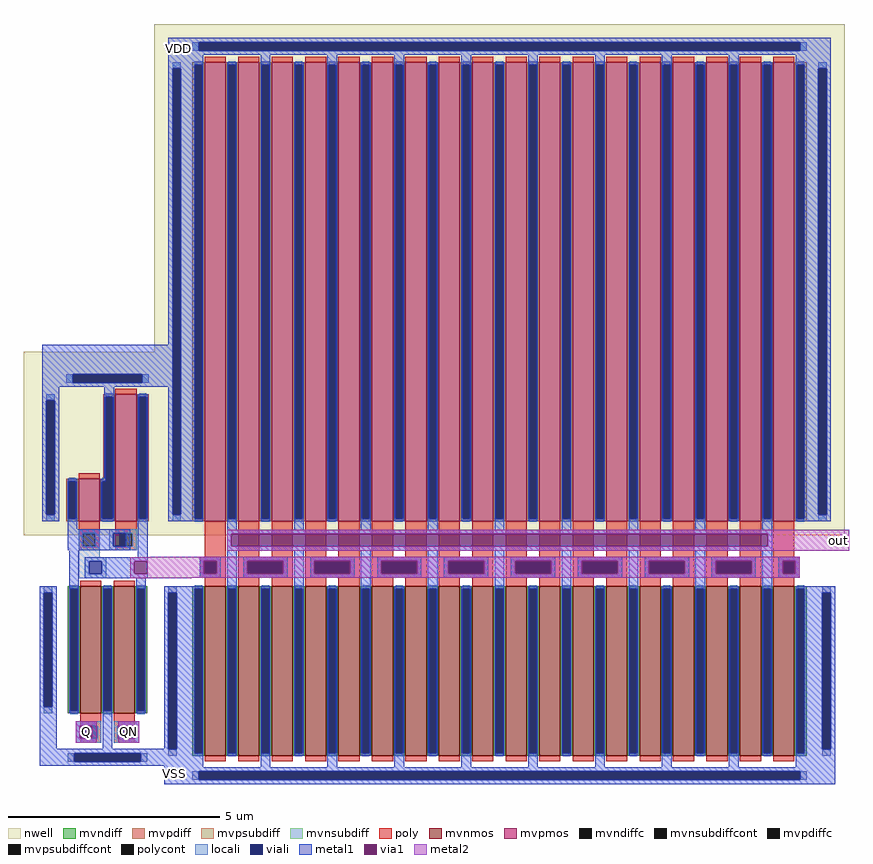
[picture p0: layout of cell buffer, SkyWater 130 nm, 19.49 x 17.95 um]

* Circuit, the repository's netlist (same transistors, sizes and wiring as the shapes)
* NGSPICE file created from buffer.ext - technology: sky130A

.subckt buffer
X0 VDD a_n137_16# out VDD sky130_fd_pr__pfet_g5v0d10v5 ad=1.57 pd=11.1 as=1.57 ps=11.1 w=10.8 l=0.5
X1 VDD a_n137_16# out VDD sky130_fd_pr__pfet_g5v0d10v5 ad=3.14 pd=22.3 as=1.57 ps=11.1 w=10.8 l=0.5
X2 out a_n137_16# VSS VSS sky130_fd_pr__nfet_g5v0d10v5 ad=0.58 pd=4.29 as=0.58 ps=4.29 w=4 l=0.5
X3 VSS Q a_n195_154# VSS sky130_fd_pr__nfet_g5v0d10v5 ad=0.435 pd=3.29 as=0.87 ps=6.58 w=3 l=0.5
X4 VSS a_n137_16# out VSS sky130_fd_pr__nfet_g5v0d10v5 ad=0.58 pd=4.29 as=0.58 ps=4.29 w=4 l=0.5
X5 out a_n137_16# VSS VSS sky130_fd_pr__nfet_g5v0d10v5 ad=0.58 pd=4.29 as=0.58 ps=4.29 w=4 l=0.5
X6 out a_n137_16# VDD VDD sky130_fd_pr__pfet_g5v0d10v5 ad=1.57 pd=11.1 as=1.57 ps=11.1 w=10.8 l=0.5
X7 out a_n137_16# VSS VSS sky130_fd_pr__nfet_g5v0d10v5 ad=0.58 pd=4.29 as=0.58 ps=4.29 w=4 l=0.5
X8 out a_n137_16# VDD VDD sky130_fd_pr__pfet_g5v0d10v5 ad=1.57 pd=11.1 as=1.57 ps=11.1 w=10.8 l=0.5
X9 a_n137_16# a_n195_154# VDD VDD sky130_fd_pr__pfet_g5v0d10v5 ad=0.87 pd=6.58 as=0.475 ps=3.37 w=3 l=0.5
X10 VSS a_n137_16# out VSS sky130_fd_pr__nfet_g5v0d10v5 ad=0.58 pd=4.29 as=0.58 ps=4.29 w=4 l=0.5
X11 VSS a_n137_16# out VSS sky130_fd_pr__nfet_g5v0d10v5 ad=0.58 pd=4.29 as=0.58 ps=4.29 w=4 l=0.5
X12 out a_n137_16# VDD VDD sky130_fd_pr__pfet_g5v0d10v5 ad=1.57 pd=11.1 as=1.57 ps=11.1 w=10.8 l=0.5
X13 VSS a_n137_16# out VSS sky130_fd_pr__nfet_g5v0d10v5 ad=0.58 pd=4.29 as=0.58 ps=4.29 w=4 l=0.5
X14 VDD a_n137_16# out VDD sky130_fd_pr__pfet_g5v0d10v5 ad=1.57 pd=11.1 as=1.57 ps=11.1 w=10.8 l=0.5
X15 out a_n137_16# VDD VDD sky130_fd_pr__pfet_g5v0d10v5 ad=1.57 pd=11.1 as=1.57 ps=11.1 w=10.8 l=0.5
X16 out a_n137_16# VSS VSS sky130_fd_pr__nfet_g5v0d10v5 ad=0.58 pd=4.29 as=0.58 ps=4.29 w=4 l=0.5
X17 VDD a_n137_16# a_n195_154# VDD sky130_fd_pr__pfet_g5v0d10v5 ad=0.475 pd=3.37 as=0.29 ps=2.58 w=1 l=0.5
X18 VDD a_n137_16# out VDD sky130_fd_pr__pfet_g5v0d10v5 ad=1.57 pd=11.1 as=1.57 ps=11.1 w=10.8 l=0.5
X19 out a_n137_16# VDD VDD sky130_fd_pr__pfet_g5v0d10v5 ad=1.57 pd=11.1 as=1.57 ps=11.1 w=10.8 l=0.5
X20 out a_n137_16# VSS VSS sky130_fd_pr__nfet_g5v0d10v5 ad=0.58 pd=4.29 as=0.58 ps=4.29 w=4 l=0.5
X21 out a_n137_16# VSS VSS sky130_fd_pr__nfet_g5v0d10v5 ad=0.58 pd=4.29 as=0.58 ps=4.29 w=4 l=0.5
X22 VDD a_n137_16# out VDD sky130_fd_pr__pfet_g5v0d10v5 ad=1.57 pd=11.1 as=1.57 ps=11.1 w=10.8 l=0.5
X23 out a_n137_16# VSS VSS sky130_fd_pr__nfet_g5v0d10v5 ad=0.58 pd=4.29 as=1.16 ps=8.58 w=4 l=0.5
X24 out a_n137_16# VSS VSS sky130_fd_pr__nfet_g5v0d10v5 ad=0.58 pd=4.29 as=0.58 ps=4.29 w=4 l=0.5
X25 VDD a_n137_16# out VDD sky130_fd_pr__pfet_g5v0d10v5 ad=1.57 pd=11.1 as=1.57 ps=11.1 w=10.8 l=0.5
X26 out a_n137_16# VSS VSS sky130_fd_pr__nfet_g5v0d10v5 ad=0.58 pd=4.29 as=0.58 ps=4.29 w=4 l=0.5
X27 VSS a_n137_16# out VSS sky130_fd_pr__nfet_g5v0d10v5 ad=1.16 pd=8.58 as=0.58 ps=4.29 w=4 l=0.5
X28 VDD a_n137_16# out VDD sky130_fd_pr__pfet_g5v0d10v5 ad=1.57 pd=11.1 as=1.57 ps=11.1 w=10.8 l=0.5
X29 a_n137_16# QN VSS VSS sky130_fd_pr__nfet_g5v0d10v5 ad=0.87 pd=6.58 as=0.435 ps=3.29 w=3 l=0.5
X30 VSS a_n137_16# out VSS sky130_fd_pr__nfet_g5v0d10v5 ad=0.58 pd=4.29 as=0.58 ps=4.29 w=4 l=0.5
X31 VSS a_n137_16# out VSS sky130_fd_pr__nfet_g5v0d10v5 ad=0.58 pd=4.29 as=0.58 ps=4.29 w=4 l=0.5
X32 out a_n137_16# VDD VDD sky130_fd_pr__pfet_g5v0d10v5 ad=1.57 pd=11.1 as=1.57 ps=11.1 w=10.8 l=0.5
X33 out a_n137_16# VDD VDD sky130_fd_pr__pfet_g5v0d10v5 ad=1.57 pd=11.1 as=1.57 ps=11.1 w=10.8 l=0.5
X34 VDD a_n137_16# out VDD sky130_fd_pr__pfet_g5v0d10v5 ad=1.57 pd=11.1 as=1.57 ps=11.1 w=10.8 l=0.5
X35 VSS a_n137_16# out VSS sky130_fd_pr__nfet_g5v0d10v5 ad=0.58 pd=4.29 as=0.58 ps=4.29 w=4 l=0.5
X36 VDD a_n137_16# out VDD sky130_fd_pr__pfet_g5v0d10v5 ad=1.57 pd=11.1 as=1.57 ps=11.1 w=10.8 l=0.5
X37 out a_n137_16# VDD VDD sky130_fd_pr__pfet_g5v0d10v5 ad=1.57 pd=11.1 as=3.14 ps=22.3 w=10.8 l=0.5
X38 out a_n137_16# VDD VDD sky130_fd_pr__pfet_g5v0d10v5 ad=1.57 pd=11.1 as=1.57 ps=11.1 w=10.8 l=0.5
X39 VSS a_n137_16# out VSS sky130_fd_pr__nfet_g5v0d10v5 ad=0.58 pd=4.29 as=0.58 ps=4.29 w=4 l=0.5
.ends

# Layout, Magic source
magic
tech sky130A
magscale 1 2
<< nwell >>
rect 221 954 3483 2502
rect -395 88 3483 954
<< mvnmos >>
rect -129 -754 -29 -154
rect 29 -754 129 -154
rect 459 -954 559 -154
rect 617 -954 717 -154
rect 775 -954 875 -154
rect 933 -954 1033 -154
rect 1091 -954 1191 -154
rect 1249 -954 1349 -154
rect 1407 -954 1507 -154
rect 1565 -954 1665 -154
rect 1723 -954 1823 -154
rect 1881 -954 1981 -154
rect 2039 -954 2139 -154
rect 2197 -954 2297 -154
rect 2355 -954 2455 -154
rect 2513 -954 2613 -154
rect 2671 -954 2771 -154
rect 2829 -954 2929 -154
rect 2987 -954 3087 -154
rect 3145 -954 3245 -154
<< mvpmos >>
rect -137 154 -37 354
rect 37 154 137 754
rect 459 154 559 2322
rect 617 154 717 2322
rect 775 154 875 2322
rect 933 154 1033 2322
rect 1091 154 1191 2322
rect 1249 154 1349 2322
rect 1407 154 1507 2322
rect 1565 154 1665 2322
rect 1723 154 1823 2322
rect 1881 154 1981 2322
rect 2039 154 2139 2322
rect 2197 154 2297 2322
rect 2355 154 2455 2322
rect 2513 154 2613 2322
rect 2671 154 2771 2322
rect 2829 154 2929 2322
rect 2987 154 3087 2322
rect 3145 154 3245 2322
<< mvndiff >>
rect -187 -166 -129 -154
rect -187 -742 -175 -166
rect -141 -742 -129 -166
rect -187 -754 -129 -742
rect -29 -166 29 -154
rect -29 -742 -17 -166
rect 17 -742 29 -166
rect -29 -754 29 -742
rect 129 -166 187 -154
rect 129 -742 141 -166
rect 175 -742 187 -166
rect 129 -754 187 -742
rect 401 -166 459 -154
rect 401 -942 413 -166
rect 447 -942 459 -166
rect 401 -954 459 -942
rect 559 -166 617 -154
rect 559 -942 571 -166
rect 605 -942 617 -166
rect 559 -954 617 -942
rect 717 -166 775 -154
rect 717 -942 729 -166
rect 763 -942 775 -166
rect 717 -954 775 -942
rect 875 -166 933 -154
rect 875 -942 887 -166
rect 921 -942 933 -166
rect 875 -954 933 -942
rect 1033 -166 1091 -154
rect 1033 -942 1045 -166
rect 1079 -942 1091 -166
rect 1033 -954 1091 -942
rect 1191 -166 1249 -154
rect 1191 -942 1203 -166
rect 1237 -942 1249 -166
rect 1191 -954 1249 -942
rect 1349 -166 1407 -154
rect 1349 -942 1361 -166
rect 1395 -942 1407 -166
rect 1349 -954 1407 -942
rect 1507 -166 1565 -154
rect 1507 -942 1519 -166
rect 1553 -942 1565 -166
rect 1507 -954 1565 -942
rect 1665 -166 1723 -154
rect 1665 -942 1677 -166
rect 1711 -942 1723 -166
rect 1665 -954 1723 -942
rect 1823 -166 1881 -154
rect 1823 -942 1835 -166
rect 1869 -942 1881 -166
rect 1823 -954 1881 -942
rect 1981 -166 2039 -154
rect 1981 -942 1993 -166
rect 2027 -942 2039 -166
rect 1981 -954 2039 -942
rect 2139 -166 2197 -154
rect 2139 -942 2151 -166
rect 2185 -942 2197 -166
rect 2139 -954 2197 -942
rect 2297 -166 2355 -154
rect 2297 -942 2309 -166
rect 2343 -942 2355 -166
rect 2297 -954 2355 -942
rect 2455 -166 2513 -154
rect 2455 -942 2467 -166
rect 2501 -942 2513 -166
rect 2455 -954 2513 -942
rect 2613 -166 2671 -154
rect 2613 -942 2625 -166
rect 2659 -942 2671 -166
rect 2613 -954 2671 -942
rect 2771 -166 2829 -154
rect 2771 -942 2783 -166
rect 2817 -942 2829 -166
rect 2771 -954 2829 -942
rect 2929 -166 2987 -154
rect 2929 -942 2941 -166
rect 2975 -942 2987 -166
rect 2929 -954 2987 -942
rect 3087 -166 3145 -154
rect 3087 -942 3099 -166
rect 3133 -942 3145 -166
rect 3087 -954 3145 -942
rect 3245 -166 3303 -154
rect 3245 -942 3257 -166
rect 3291 -942 3303 -166
rect 3245 -954 3303 -942
<< mvpdiff >>
rect -21 742 37 754
rect -21 354 -9 742
rect -195 342 -137 354
rect -195 166 -183 342
rect -149 166 -137 342
rect -195 154 -137 166
rect -37 342 -9 354
rect -37 166 -25 342
rect 25 166 37 742
rect -37 154 37 166
rect 137 742 195 754
rect 137 166 149 742
rect 183 166 195 742
rect 137 154 195 166
rect 401 2310 459 2322
rect 401 166 413 2310
rect 447 166 459 2310
rect 401 154 459 166
rect 559 2310 617 2322
rect 559 166 571 2310
rect 605 166 617 2310
rect 559 154 617 166
rect 717 2310 775 2322
rect 717 166 729 2310
rect 763 166 775 2310
rect 717 154 775 166
rect 875 2310 933 2322
rect 875 166 887 2310
rect 921 166 933 2310
rect 875 154 933 166
rect 1033 2310 1091 2322
rect 1033 166 1045 2310
rect 1079 166 1091 2310
rect 1033 154 1091 166
rect 1191 2310 1249 2322
rect 1191 166 1203 2310
rect 1237 166 1249 2310
rect 1191 154 1249 166
rect 1349 2310 1407 2322
rect 1349 166 1361 2310
rect 1395 166 1407 2310
rect 1349 154 1407 166
rect 1507 2310 1565 2322
rect 1507 166 1519 2310
rect 1553 166 1565 2310
rect 1507 154 1565 166
rect 1665 2310 1723 2322
rect 1665 166 1677 2310
rect 1711 166 1723 2310
rect 1665 154 1723 166
rect 1823 2310 1881 2322
rect 1823 166 1835 2310
rect 1869 166 1881 2310
rect 1823 154 1881 166
rect 1981 2310 2039 2322
rect 1981 166 1993 2310
rect 2027 166 2039 2310
rect 1981 154 2039 166
rect 2139 2310 2197 2322
rect 2139 166 2151 2310
rect 2185 166 2197 2310
rect 2139 154 2197 166
rect 2297 2310 2355 2322
rect 2297 166 2309 2310
rect 2343 166 2355 2310
rect 2297 154 2355 166
rect 2455 2310 2513 2322
rect 2455 166 2467 2310
rect 2501 166 2513 2310
rect 2455 154 2513 166
rect 2613 2310 2671 2322
rect 2613 166 2625 2310
rect 2659 166 2671 2310
rect 2613 154 2671 166
rect 2771 2310 2829 2322
rect 2771 166 2783 2310
rect 2817 166 2829 2310
rect 2771 154 2829 166
rect 2929 2310 2987 2322
rect 2929 166 2941 2310
rect 2975 166 2987 2310
rect 2929 154 2987 166
rect 3087 2310 3145 2322
rect 3087 166 3099 2310
rect 3133 166 3145 2310
rect 3087 154 3145 166
rect 3245 2310 3303 2322
rect 3245 166 3257 2310
rect 3291 166 3303 2310
rect 3245 154 3303 166
<< mvndiffc >>
rect -175 -742 -141 -166
rect -17 -742 17 -166
rect 141 -742 175 -166
rect 413 -942 447 -166
rect 571 -942 605 -166
rect 729 -942 763 -166
rect 887 -942 921 -166
rect 1045 -942 1079 -166
rect 1203 -942 1237 -166
rect 1361 -942 1395 -166
rect 1519 -942 1553 -166
rect 1677 -942 1711 -166
rect 1835 -942 1869 -166
rect 1993 -942 2027 -166
rect 2151 -942 2185 -166
rect 2309 -942 2343 -166
rect 2467 -942 2501 -166
rect 2625 -942 2659 -166
rect 2783 -942 2817 -166
rect 2941 -942 2975 -166
rect 3099 -942 3133 -166
rect 3257 -942 3291 -166
<< mvpdiffc >>
rect -183 166 -149 342
rect -9 342 25 742
rect -25 166 25 342
rect 149 166 183 742
rect 413 166 447 2310
rect 571 166 605 2310
rect 729 166 763 2310
rect 887 166 921 2310
rect 1045 166 1079 2310
rect 1203 166 1237 2310
rect 1361 166 1395 2310
rect 1519 166 1553 2310
rect 1677 166 1711 2310
rect 1835 166 1869 2310
rect 1993 166 2027 2310
rect 2151 166 2185 2310
rect 2309 166 2343 2310
rect 2467 166 2501 2310
rect 2625 166 2659 2310
rect 2783 166 2817 2310
rect 2941 166 2975 2310
rect 3099 166 3133 2310
rect 3257 166 3291 2310
<< mvpsubdiff >>
rect -301 -184 -261 -154
rect -301 -754 -261 -724
rect 287 -184 327 -154
rect -187 -982 -157 -942
rect 157 -982 187 -942
rect 287 -954 327 -924
rect 3377 -184 3417 -154
rect 3377 -954 3417 -924
rect 401 -1068 431 -1028
rect 3273 -1068 3303 -1028
<< mvnsubdiff >>
rect 401 2376 431 2416
rect 3273 2376 3303 2416
rect 307 2292 347 2322
rect -195 808 -165 848
rect 165 808 195 848
rect -289 724 -249 754
rect -289 154 -249 184
rect 307 154 347 184
rect 3357 2292 3397 2322
rect 3357 154 3397 184
<< mvpsubdiffcont >>
rect -301 -724 -261 -184
rect 287 -924 327 -184
rect -157 -982 157 -942
rect 3377 -924 3417 -184
rect 431 -1068 3273 -1028
<< mvnsubdiffcont >>
rect 431 2376 3273 2416
rect -165 808 165 848
rect -289 184 -249 724
rect 307 184 347 2292
rect 3357 184 3397 2292
<< poly >>
rect 459 2322 559 2348
rect 617 2322 717 2348
rect 775 2322 875 2348
rect 933 2322 1033 2348
rect 1091 2322 1191 2348
rect 1249 2322 1349 2348
rect 1407 2322 1507 2348
rect 1565 2322 1665 2348
rect 1723 2322 1823 2348
rect 1881 2322 1981 2348
rect 2039 2322 2139 2348
rect 2197 2322 2297 2348
rect 2355 2322 2455 2348
rect 2513 2322 2613 2348
rect 2671 2322 2771 2348
rect 2829 2322 2929 2348
rect 2987 2322 3087 2348
rect 3145 2322 3245 2348
rect 37 754 137 780
rect -137 354 -37 380
rect -137 96 -37 154
rect -137 36 -117 96
rect -57 36 -37 96
rect -137 16 -37 36
rect 37 96 137 154
rect 37 36 57 96
rect 117 36 137 96
rect 37 16 137 36
rect 459 -14 559 154
rect 435 -34 559 -14
rect 435 -94 455 -34
rect 515 -94 559 -34
rect 435 -114 559 -94
rect -129 -154 -29 -128
rect 29 -154 129 -128
rect 459 -154 559 -114
rect 617 -14 717 154
rect 775 -14 875 154
rect 617 -34 875 -14
rect 617 -94 661 -34
rect 831 -94 875 -34
rect 617 -114 875 -94
rect 617 -154 717 -114
rect 775 -154 875 -114
rect 933 -14 1033 154
rect 1091 -14 1191 154
rect 933 -34 1191 -14
rect 933 -94 977 -34
rect 1147 -94 1191 -34
rect 933 -114 1191 -94
rect 933 -154 1033 -114
rect 1091 -154 1191 -114
rect 1249 -14 1349 154
rect 1407 -14 1507 154
rect 1249 -34 1507 -14
rect 1249 -94 1293 -34
rect 1463 -94 1507 -34
rect 1249 -114 1507 -94
rect 1249 -154 1349 -114
rect 1407 -154 1507 -114
rect 1565 -14 1665 154
rect 1723 -14 1823 154
rect 1565 -34 1823 -14
rect 1565 -94 1609 -34
rect 1779 -94 1823 -34
rect 1565 -114 1823 -94
rect 1565 -154 1665 -114
rect 1723 -154 1823 -114
rect 1881 -14 1981 154
rect 2039 -14 2139 154
rect 1881 -34 2139 -14
rect 1881 -94 1925 -34
rect 2095 -94 2139 -34
rect 1881 -114 2139 -94
rect 1881 -154 1981 -114
rect 2039 -154 2139 -114
rect 2197 -14 2297 154
rect 2355 -14 2455 154
rect 2197 -34 2455 -14
rect 2197 -94 2241 -34
rect 2411 -94 2455 -34
rect 2197 -114 2455 -94
rect 2197 -154 2297 -114
rect 2355 -154 2455 -114
rect 2513 -14 2613 154
rect 2671 -14 2771 154
rect 2513 -34 2771 -14
rect 2513 -94 2557 -34
rect 2727 -94 2771 -34
rect 2513 -114 2771 -94
rect 2513 -154 2613 -114
rect 2671 -154 2771 -114
rect 2829 -14 2929 154
rect 2987 -14 3087 154
rect 2829 -34 3087 -14
rect 2829 -94 2873 -34
rect 3043 -94 3087 -34
rect 2829 -114 3087 -94
rect 2829 -154 2929 -114
rect 2987 -154 3087 -114
rect 3145 -14 3245 154
rect 3145 -34 3269 -14
rect 3145 -94 3189 -34
rect 3249 -94 3269 -34
rect 3145 -114 3269 -94
rect 3145 -154 3245 -114
rect -129 -812 -29 -754
rect -129 -872 -109 -812
rect -49 -872 -29 -812
rect -129 -892 -29 -872
rect 29 -812 129 -754
rect 29 -872 49 -812
rect 109 -872 129 -812
rect 29 -892 129 -872
rect 459 -980 559 -954
rect 617 -980 717 -954
rect 775 -980 875 -954
rect 933 -980 1033 -954
rect 1091 -980 1191 -954
rect 1249 -980 1349 -954
rect 1407 -980 1507 -954
rect 1565 -980 1665 -954
rect 1723 -980 1823 -954
rect 1881 -980 1981 -954
rect 2039 -980 2139 -954
rect 2197 -980 2297 -954
rect 2355 -980 2455 -954
rect 2513 -980 2613 -954
rect 2671 -980 2771 -954
rect 2829 -980 2929 -954
rect 2987 -980 3087 -954
rect 3145 -980 3245 -954
<< polycont >>
rect -117 36 -57 96
rect 57 36 117 96
rect 455 -94 515 -34
rect 661 -94 831 -34
rect 977 -94 1147 -34
rect 1293 -94 1463 -34
rect 1609 -94 1779 -34
rect 1925 -94 2095 -34
rect 2241 -94 2411 -34
rect 2557 -94 2727 -34
rect 2873 -94 3043 -34
rect 3189 -94 3249 -34
rect -109 -872 -49 -812
rect 49 -872 109 -812
<< locali >>
rect 401 2376 431 2416
rect 3273 2376 3303 2416
rect 307 2292 347 2322
rect -195 808 -165 848
rect 165 808 195 848
rect -289 724 -249 754
rect -9 742 25 758
rect -289 154 -249 184
rect -183 342 -149 358
rect -183 150 -149 166
rect -25 342 -9 358
rect -25 150 25 166
rect 149 742 183 758
rect 149 150 183 166
rect 307 154 347 184
rect 413 2310 447 2326
rect 413 150 447 166
rect 571 2310 605 2326
rect 571 150 605 166
rect 729 2310 763 2326
rect 729 150 763 166
rect 887 2310 921 2326
rect 887 150 921 166
rect 1045 2310 1079 2326
rect 1045 150 1079 166
rect 1203 2310 1237 2326
rect 1203 150 1237 166
rect 1361 2310 1395 2326
rect 1361 150 1395 166
rect 1519 2310 1553 2326
rect 1519 150 1553 166
rect 1677 2310 1711 2326
rect 1677 150 1711 166
rect 1835 2310 1869 2326
rect 1835 150 1869 166
rect 1993 2310 2027 2326
rect 1993 150 2027 166
rect 2151 2310 2185 2326
rect 2151 150 2185 166
rect 2309 2310 2343 2326
rect 2309 150 2343 166
rect 2467 2310 2501 2326
rect 2467 150 2501 166
rect 2625 2310 2659 2326
rect 2625 150 2659 166
rect 2783 2310 2817 2326
rect 2783 150 2817 166
rect 2941 2310 2975 2326
rect 2941 150 2975 166
rect 3099 2310 3133 2326
rect 3099 150 3133 166
rect 3257 2310 3291 2326
rect 3257 150 3291 166
rect 3357 2292 3397 2322
rect 3357 154 3397 184
rect -137 96 -37 116
rect -137 36 -117 96
rect -57 36 -37 96
rect -137 -16 -37 36
rect 7 96 137 116
rect 7 36 27 96
rect 117 36 137 96
rect 7 16 137 36
rect -137 -36 -7 -16
rect -137 -96 -87 -36
rect -27 -96 -7 -36
rect -137 -116 -7 -96
rect 435 -34 535 -14
rect 435 -94 455 -34
rect 515 -94 535 -34
rect 435 -114 535 -94
rect 641 -34 851 -14
rect 641 -94 661 -34
rect 831 -94 851 -34
rect 641 -114 851 -94
rect 957 -34 1167 -14
rect 957 -94 977 -34
rect 1147 -94 1167 -34
rect 957 -114 1167 -94
rect 1273 -34 1483 -14
rect 1273 -94 1293 -34
rect 1463 -94 1483 -34
rect 1273 -114 1483 -94
rect 1589 -34 1799 -14
rect 1589 -94 1609 -34
rect 1779 -94 1799 -34
rect 1589 -114 1799 -94
rect 1905 -34 2115 -14
rect 1905 -94 1925 -34
rect 2095 -94 2115 -34
rect 1905 -114 2115 -94
rect 2221 -34 2431 -14
rect 2221 -94 2241 -34
rect 2411 -94 2431 -34
rect 2221 -114 2431 -94
rect 2537 -34 2747 -14
rect 2537 -94 2557 -34
rect 2727 -94 2747 -34
rect 2537 -114 2747 -94
rect 2853 -34 3063 -14
rect 2853 -94 2873 -34
rect 3043 -94 3063 -34
rect 2853 -114 3063 -94
rect 3169 -34 3269 -14
rect 3169 -94 3189 -34
rect 3249 -94 3269 -34
rect 3169 -114 3269 -94
rect -301 -184 -261 -154
rect -301 -754 -261 -724
rect -175 -166 -141 -150
rect -175 -758 -141 -742
rect -17 -166 17 -150
rect -17 -758 17 -742
rect 141 -166 175 -150
rect 141 -758 175 -742
rect 287 -184 327 -154
rect -151 -812 -29 -792
rect -151 -872 -131 -812
rect -49 -872 -29 -812
rect -151 -892 -29 -872
rect 29 -812 151 -792
rect 29 -872 49 -812
rect 131 -872 151 -812
rect 29 -892 151 -872
rect -187 -982 -157 -942
rect 157 -982 187 -942
rect 287 -954 327 -924
rect 413 -166 447 -150
rect 413 -958 447 -942
rect 571 -166 605 -150
rect 571 -958 605 -942
rect 729 -166 763 -150
rect 729 -958 763 -942
rect 887 -166 921 -150
rect 887 -958 921 -942
rect 1045 -166 1079 -150
rect 1045 -958 1079 -942
rect 1203 -166 1237 -150
rect 1203 -958 1237 -942
rect 1361 -166 1395 -150
rect 1361 -958 1395 -942
rect 1519 -166 1553 -150
rect 1519 -958 1553 -942
rect 1677 -166 1711 -150
rect 1677 -958 1711 -942
rect 1835 -166 1869 -150
rect 1835 -958 1869 -942
rect 1993 -166 2027 -150
rect 1993 -958 2027 -942
rect 2151 -166 2185 -150
rect 2151 -958 2185 -942
rect 2309 -166 2343 -150
rect 2309 -958 2343 -942
rect 2467 -166 2501 -150
rect 2467 -958 2501 -942
rect 2625 -166 2659 -150
rect 2625 -958 2659 -942
rect 2783 -166 2817 -150
rect 2783 -958 2817 -942
rect 2941 -166 2975 -150
rect 2941 -958 2975 -942
rect 3099 -166 3133 -150
rect 3099 -958 3133 -942
rect 3257 -166 3291 -150
rect 3257 -958 3291 -942
rect 3377 -184 3417 -154
rect 3377 -954 3417 -924
rect 401 -1068 431 -1028
rect 3273 -1068 3303 -1028
<< viali >>
rect 431 2376 3273 2416
rect -165 808 165 848
rect -289 184 -249 724
rect -183 166 -149 342
rect -9 342 25 742
rect -25 166 25 342
rect 149 166 183 742
rect 307 184 347 2292
rect 413 166 447 2310
rect 571 166 605 2310
rect 729 166 763 2310
rect 887 166 921 2310
rect 1045 166 1079 2310
rect 1203 166 1237 2310
rect 1361 166 1395 2310
rect 1519 166 1553 2310
rect 1677 166 1711 2310
rect 1835 166 1869 2310
rect 1993 166 2027 2310
rect 2151 166 2185 2310
rect 2309 166 2343 2310
rect 2467 166 2501 2310
rect 2625 166 2659 2310
rect 2783 166 2817 2310
rect 2941 166 2975 2310
rect 3099 166 3133 2310
rect 3257 166 3291 2310
rect 3357 184 3397 2292
rect 27 36 57 96
rect 57 36 87 96
rect -87 -96 -27 -36
rect 455 -94 515 -34
rect 661 -94 831 -34
rect 977 -94 1147 -34
rect 1293 -94 1463 -34
rect 1609 -94 1779 -34
rect 1925 -94 2095 -34
rect 2241 -94 2411 -34
rect 2557 -94 2727 -34
rect 2873 -94 3043 -34
rect 3189 -94 3249 -34
rect -301 -724 -261 -184
rect -175 -742 -141 -166
rect -17 -742 17 -166
rect 141 -742 175 -166
rect -131 -872 -109 -812
rect -109 -872 -71 -812
rect 71 -872 109 -812
rect 109 -872 131 -812
rect 287 -924 327 -184
rect -157 -982 157 -942
rect 413 -942 447 -166
rect 571 -942 605 -166
rect 729 -942 763 -166
rect 887 -942 921 -166
rect 1045 -942 1079 -166
rect 1203 -942 1237 -166
rect 1361 -942 1395 -166
rect 1519 -942 1553 -166
rect 1677 -942 1711 -166
rect 1835 -942 1869 -166
rect 1993 -942 2027 -166
rect 2151 -942 2185 -166
rect 2309 -942 2343 -166
rect 2467 -942 2501 -166
rect 2625 -942 2659 -166
rect 2783 -942 2817 -166
rect 2941 -942 2975 -166
rect 3099 -942 3133 -166
rect 3257 -942 3291 -166
rect 3377 -924 3417 -184
rect 431 -1068 3273 -1028
<< metal1 >>
rect 287 2416 3417 2436
rect 287 2376 431 2416
rect 3273 2376 3417 2416
rect 287 2356 3417 2376
rect 287 2310 453 2356
rect 287 2292 413 2310
rect 287 988 307 2292
rect -309 848 307 988
rect -309 808 -165 848
rect 165 808 307 848
rect -309 788 307 808
rect -309 724 -229 788
rect -309 184 -289 724
rect -249 184 -229 724
rect -15 742 31 788
rect -15 354 -9 742
rect -309 154 -229 184
rect -189 342 -143 354
rect -189 166 -183 342
rect -149 166 -143 342
rect -189 116 -143 166
rect -31 342 -9 354
rect -31 166 -25 342
rect 25 166 31 742
rect -31 154 31 166
rect 143 742 189 754
rect 143 166 149 742
rect 183 166 189 742
rect -189 96 107 116
rect -189 36 27 96
rect 87 36 107 96
rect -189 16 107 36
rect -321 -184 -241 -154
rect -321 -724 -301 -184
rect -261 -724 -241 -184
rect -321 -922 -241 -724
rect -181 -166 -135 16
rect 143 -16 189 166
rect 287 184 307 788
rect 347 184 413 2292
rect 287 166 413 184
rect 447 166 453 2310
rect 287 154 453 166
rect 565 2310 611 2322
rect 565 166 571 2310
rect 605 166 611 2310
rect 565 114 611 166
rect 723 2310 769 2356
rect 723 166 729 2310
rect 763 166 769 2310
rect 723 154 769 166
rect 881 2310 927 2322
rect 881 166 887 2310
rect 921 166 927 2310
rect 881 114 927 166
rect 1039 2310 1085 2356
rect 1039 166 1045 2310
rect 1079 166 1085 2310
rect 1039 154 1085 166
rect 1197 2310 1243 2322
rect 1197 166 1203 2310
rect 1237 166 1243 2310
rect 1197 114 1243 166
rect 1355 2310 1401 2356
rect 1355 166 1361 2310
rect 1395 166 1401 2310
rect 1355 154 1401 166
rect 1513 2310 1559 2322
rect 1513 166 1519 2310
rect 1553 166 1559 2310
rect 1513 114 1559 166
rect 1671 2310 1717 2356
rect 1671 166 1677 2310
rect 1711 166 1717 2310
rect 1671 154 1717 166
rect 1829 2310 1875 2322
rect 1829 166 1835 2310
rect 1869 166 1875 2310
rect 1829 114 1875 166
rect 1987 2310 2033 2356
rect 1987 166 1993 2310
rect 2027 166 2033 2310
rect 1987 154 2033 166
rect 2145 2310 2191 2322
rect 2145 166 2151 2310
rect 2185 166 2191 2310
rect 2145 114 2191 166
rect 2303 2310 2349 2356
rect 2303 166 2309 2310
rect 2343 166 2349 2310
rect 2303 154 2349 166
rect 2461 2310 2507 2322
rect 2461 166 2467 2310
rect 2501 166 2507 2310
rect 2461 114 2507 166
rect 2619 2310 2665 2356
rect 2619 166 2625 2310
rect 2659 166 2665 2310
rect 2619 154 2665 166
rect 2777 2310 2823 2322
rect 2777 166 2783 2310
rect 2817 166 2823 2310
rect 2777 114 2823 166
rect 2935 2310 2981 2356
rect 2935 166 2941 2310
rect 2975 166 2981 2310
rect 2935 154 2981 166
rect 3093 2310 3139 2322
rect 3093 166 3099 2310
rect 3133 166 3139 2310
rect 3093 114 3139 166
rect 3251 2310 3417 2356
rect 3251 166 3257 2310
rect 3291 2292 3417 2310
rect 3291 184 3357 2292
rect 3397 184 3417 2292
rect 3291 166 3417 184
rect 3251 154 3417 166
rect 565 94 3139 114
rect 565 34 585 94
rect 3119 34 3139 94
rect 565 14 3139 34
rect -107 -36 189 -16
rect -107 -96 -87 -36
rect -27 -96 127 -36
rect 187 -96 189 -36
rect -107 -116 189 -96
rect 435 -34 535 -14
rect 435 -94 455 -34
rect 515 -94 535 -34
rect 435 -114 535 -94
rect -181 -742 -175 -166
rect -141 -742 -135 -166
rect -181 -754 -135 -742
rect -23 -166 23 -154
rect -23 -742 -17 -166
rect 17 -742 23 -166
rect -151 -812 -51 -792
rect -151 -872 -131 -812
rect -71 -872 -51 -812
rect -151 -892 -51 -872
rect -23 -922 23 -742
rect 135 -166 181 -116
rect 135 -742 141 -166
rect 175 -742 181 -166
rect 135 -754 181 -742
rect 267 -166 453 -154
rect 267 -184 413 -166
rect 51 -812 151 -792
rect 51 -872 71 -812
rect 131 -872 151 -812
rect 51 -892 151 -872
rect 267 -922 287 -184
rect -321 -924 287 -922
rect 327 -924 413 -184
rect -321 -942 413 -924
rect 447 -942 453 -166
rect -321 -982 -157 -942
rect 157 -982 453 -942
rect 565 -166 611 14
rect 641 -34 851 -14
rect 641 -94 661 -34
rect 831 -94 851 -34
rect 641 -114 851 -94
rect 565 -942 571 -166
rect 605 -942 611 -166
rect 565 -954 611 -942
rect 723 -166 769 -154
rect 723 -942 729 -166
rect 763 -942 769 -166
rect -321 -1002 453 -982
rect 267 -1008 453 -1002
rect 723 -1008 769 -942
rect 881 -166 927 14
rect 957 -34 1167 -14
rect 957 -94 977 -34
rect 1147 -94 1167 -34
rect 957 -114 1167 -94
rect 881 -942 887 -166
rect 921 -942 927 -166
rect 881 -954 927 -942
rect 1039 -166 1085 -154
rect 1039 -942 1045 -166
rect 1079 -942 1085 -166
rect 1039 -1008 1085 -942
rect 1197 -166 1243 14
rect 1273 -34 1483 -14
rect 1273 -94 1293 -34
rect 1463 -94 1483 -34
rect 1273 -114 1483 -94
rect 1197 -942 1203 -166
rect 1237 -942 1243 -166
rect 1197 -954 1243 -942
rect 1355 -166 1401 -154
rect 1355 -942 1361 -166
rect 1395 -942 1401 -166
rect 1355 -1008 1401 -942
rect 1513 -166 1559 14
rect 1589 -34 1799 -14
rect 1589 -94 1609 -34
rect 1779 -94 1799 -34
rect 1589 -114 1799 -94
rect 1513 -942 1519 -166
rect 1553 -942 1559 -166
rect 1513 -954 1559 -942
rect 1671 -166 1717 -154
rect 1671 -942 1677 -166
rect 1711 -942 1717 -166
rect 1671 -1008 1717 -942
rect 1829 -166 1875 14
rect 1905 -34 2115 -14
rect 1905 -94 1925 -34
rect 2095 -94 2115 -34
rect 1905 -114 2115 -94
rect 1829 -942 1835 -166
rect 1869 -942 1875 -166
rect 1829 -954 1875 -942
rect 1987 -166 2033 -154
rect 1987 -942 1993 -166
rect 2027 -942 2033 -166
rect 1987 -1008 2033 -942
rect 2145 -166 2191 14
rect 2221 -34 2431 -14
rect 2221 -94 2241 -34
rect 2411 -94 2431 -34
rect 2221 -114 2431 -94
rect 2145 -942 2151 -166
rect 2185 -942 2191 -166
rect 2145 -954 2191 -942
rect 2303 -166 2349 -154
rect 2303 -942 2309 -166
rect 2343 -942 2349 -166
rect 2303 -1008 2349 -942
rect 2461 -166 2507 14
rect 2537 -34 2747 -14
rect 2537 -94 2557 -34
rect 2727 -94 2747 -34
rect 2537 -114 2747 -94
rect 2461 -942 2467 -166
rect 2501 -942 2507 -166
rect 2461 -954 2507 -942
rect 2619 -166 2665 -154
rect 2619 -942 2625 -166
rect 2659 -942 2665 -166
rect 2619 -1008 2665 -942
rect 2777 -166 2823 14
rect 2853 -34 3063 -14
rect 2853 -94 2873 -34
rect 3043 -94 3063 -34
rect 2853 -114 3063 -94
rect 2777 -942 2783 -166
rect 2817 -942 2823 -166
rect 2777 -954 2823 -942
rect 2935 -166 2981 -154
rect 2935 -942 2941 -166
rect 2975 -942 2981 -166
rect 2935 -1008 2981 -942
rect 3093 -166 3139 14
rect 3169 -34 3269 -14
rect 3169 -94 3189 -34
rect 3249 -94 3269 -34
rect 3169 -114 3269 -94
rect 3093 -942 3099 -166
rect 3133 -942 3139 -166
rect 3093 -954 3139 -942
rect 3251 -166 3437 -154
rect 3251 -942 3257 -166
rect 3291 -184 3437 -166
rect 3291 -924 3377 -184
rect 3417 -924 3437 -184
rect 3291 -942 3437 -924
rect 3251 -1008 3437 -942
rect 267 -1028 3437 -1008
rect 267 -1068 431 -1028
rect 3273 -1068 3437 -1028
rect 267 -1088 3437 -1068
<< via1 >>
rect 585 34 3119 94
rect 127 -96 187 -36
rect 455 -94 515 -34
rect -131 -872 -71 -812
rect 71 -872 131 -812
rect 661 -94 831 -34
rect 977 -94 1147 -34
rect 1293 -94 1463 -34
rect 1609 -94 1779 -34
rect 1925 -94 2095 -34
rect 2241 -94 2411 -34
rect 2557 -94 2727 -34
rect 2873 -94 3043 -34
rect 3189 -94 3249 -34
<< metal2 >>
rect 565 94 3503 114
rect 565 34 585 94
rect 3119 34 3503 94
rect 565 14 3503 34
rect 201 -16 3269 -14
rect 107 -34 3269 -16
rect 107 -36 455 -34
rect 107 -96 127 -36
rect 187 -94 455 -36
rect 515 -94 661 -34
rect 831 -94 977 -34
rect 1147 -94 1293 -34
rect 1463 -94 1609 -34
rect 1779 -94 1925 -34
rect 2095 -94 2241 -34
rect 2411 -94 2557 -34
rect 2727 -94 2873 -34
rect 3043 -94 3189 -34
rect 3249 -94 3269 -34
rect 187 -96 3269 -94
rect 107 -114 3269 -96
rect 107 -116 395 -114
rect -151 -812 -51 -792
rect -151 -872 -131 -812
rect -71 -872 -51 -812
rect -151 -892 -51 -872
rect 51 -812 151 -792
rect 51 -872 71 -812
rect 131 -872 151 -812
rect 51 -892 151 -872
<< labels >>
rlabel metal2 51 -892 151 -792 5 QN
rlabel metal2 -151 -892 -51 -792 5 Q
rlabel metal2 3403 14 3503 114 3 out
rlabel metal1 287 2336 387 2436 1 VDD
rlabel metal1 267 -1088 367 -988 5 VSS
<< end >>
